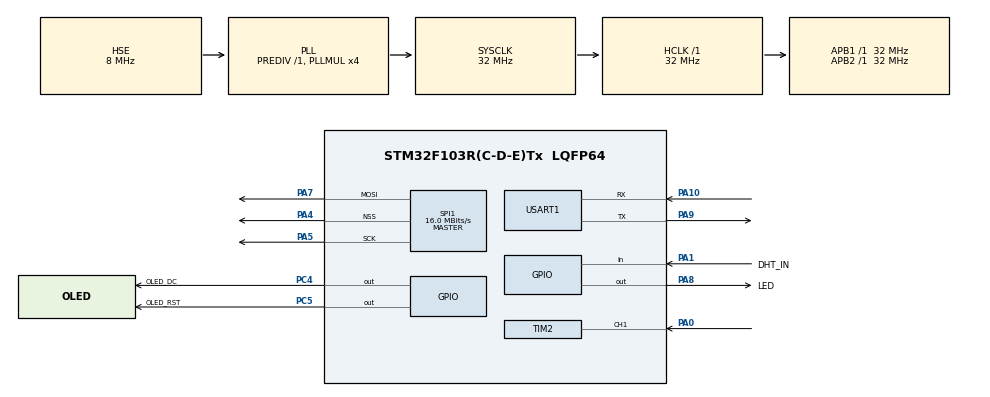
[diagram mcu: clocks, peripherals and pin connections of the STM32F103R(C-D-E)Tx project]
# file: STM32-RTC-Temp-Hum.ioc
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Mcu.Family=STM32F1
Mcu.Name=STM32F103R(C-D-E)Tx
Mcu.Package=LQFP64
NVIC.PriorityGroup=NVIC_PRIORITYGROUP_4
NVIC.TIM1_UP_IRQn=true\:0\:0\:false\:false\:true\:true\:true
NVIC.TIM2_IRQn=true\:0\:0\:false\:false\:true\:true\:true
PA0-WKUP.Signal=S_TIM2_CH1_ETR
PA1.GPIO_Label=DHT_IN
PA1.Signal=GPIO_Input
PA10.Mode=Asynchronous
PA10.Signal=USART1_RX
PA13.Mode=Serial_Wire
PA13.Signal=SYS_JTMS-SWDIO
PA14.Mode=Serial_Wire
PA14.Signal=SYS_JTCK-SWCLK
PA4.Mode=NSS_Signal_Hard_Output
PA4.Signal=SPI1_NSS
PA5.Mode=TX_Only_Simplex_Unidirect_Master
PA5.Signal=SPI1_SCK
PA7.Mode=TX_Only_Simplex_Unidirect_Master
PA7.Signal=SPI1_MOSI
PA8.GPIO_Label=LED
PA8.PinState=GPIO_PIN_SET
PA8.Signal=GPIO_Output
PA9.Mode=Asynchronous
PA9.Signal=USART1_TX
PC14-OSC32_IN.Mode=LSE-External-Oscillator
PC14-OSC32_IN.Signal=RCC_OSC32_IN
PC15-OSC32_OUT.Mode=LSE-External-Oscillator
PC15-OSC32_OUT.Signal=RCC_OSC32_OUT
PC4.GPIO_Label=OLED_DC
PC4.Signal=GPIO_Output
PC5.GPIO_Label=OLED_RST
PC5.Signal=GPIO_Output
PD0-OSC_IN.Mode=HSE-External-Oscillator
PD0-OSC_IN.Signal=RCC_OSC_IN
PD1-OSC_OUT.Mode=HSE-External-Oscillator
PD1-OSC_OUT.Signal=RCC_OSC_OUT
ProjectManager.HeapSize=0x200
ProjectManager.StackSize=0x400
ProjectManager.TargetToolchain=MDK-ARM V5.27
RCC.AHBFreq_Value=32000000
RCC.APB1Freq_Value=32000000
RCC.APB1TimFreq_Value=32000000
RCC.APB2Freq_Value=32000000
RCC.APB2TimFreq_Value=32000000
RCC.HCLKFreq_Value=32000000
RCC.PLLMUL=RCC_PLL_MUL4
RCC.PLLSourceVirtual=RCC_PLLSOURCE_HSE
RCC.SYSCLKFreq_VALUE=32000000
RCC.SYSCLKSource=RCC_SYSCLKSOURCE_PLLCLK
RCC.USBFreq_Value=32000000
RTC.Date=29
RTC.Format=RTC_FORMAT_BIN
RTC.Hours=18
RTC.Minutes=58
RTC.Month=RTC_MONTH_APRIL
RTC.Seconds=56
RTC.WeekDay=RTC_WEEKDAY_WEDNESDAY
RTC.Year=20
SH.S_TIM2_CH1_ETR.0=TIM2_CH1,Input_Capture1_from_TI1
SPI1.CalculateBaudRate=16.0 MBits/s
SPI1.Direction=SPI_DIRECTION_2LINES
SPI1.Mode=SPI_MODE_MASTER
SPI1.VirtualNSS=VM_NSSHARD
SPI1.VirtualType=VM_MASTER
TIM1.Period=999
TIM1.Prescaler=31
TIM2.Channel-Input_Capture1_from_TI1=TIM_CHANNEL_1
TIM2.ICFilter_CH1=3
TIM2.Period=9999
TIM2.Prescaler=31
USART1.VirtualMode=VM_ASYNC
VP_RTC_No_RTC_Output.Mode=RTC_OUT_NO
VP_RTC_VS_RTC_Activate.Mode=RTC_Enabled
VP_RTC_VS_RTC_Calendar.Mode=RTC_Calendar
VP_TIM1_VS_ClockSourceINT.Mode=Internal
VP_TIM2_VS_ClockSourceINT.Mode=Internal
board=custom

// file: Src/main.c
/* USER CODE BEGIN Header */
/**
  ******************************************************************************
  * @file           : main.c
  * @brief          : Main program body
  ******************************************************************************
  * @attention
  *
  * <h2><center>&copy; Copyright (c) 2020 STMicroelectronics.
  * All rights reserved.</center></h2>
  *
  * This software component is licensed by ST under BSD 3-Clause license,
  * the "License"; You may not use this file except in compliance with the
  * License. You may obtain a copy of the License at:
  *                        opensource.org/licenses/BSD-3-Clause
  *
  ******************************************************************************
  */
/* USER CODE END Header */

#include "main.h"
#include "rtc.h"
#include "spi.h"
#include "tim.h"
#include "usart.h"
#include "gpio.h"

/* USER CODE BEGIN Includes */
#include "stdio.h"
#include "dht11.h"
#include "oled.h"
#include "infrared.h"
/* USER CODE END Includes */

/* USER CODE BEGIN PTD */
typedef struct
{
	char date_str[11];
	char time_str[9];
	char week_str[4];
	char hum_str[6];
	char tmp_str[6];
}DISPLAY_DATA;

/**********定义轮询任务结构�?**********/
typedef struct
{
     uint8_t Valid;									// 任务是否挂起标志位：1=挂起
		 uint8_t Run;                  // 程序运行标记�?0-不运行，1运行
    uint16_t Timer;                // 计时�?
    uint16_t ItvTime;              // 任务运行间隔时间
    void (*TaskHook)(DISPLAY_DATA* data); // 要运行的任务函数
}TASK_COMPONENTS;
/* USER CODE END PTD */

/* USER CODE BEGIN PD */
#define TASK_NUM 		4			// 定义任务数量
/* USER CODE END PD */

/* USER CODE BEGIN PV */
RTC_DateTypeDef sDate ; // 日期
RTC_TimeTypeDef sTime ; // 时间
RTC_DateTypeDef setDate ; // 待设置的日期
RTC_TimeTypeDef setTime ; // 待设置时间
DHT11_Data_TypeDef dth11_data = {0};

// 显示结构体，初始化
DISPLAY_DATA display_data = {
	"2020-01-01",
	"12:00:00",
	"***",
	"00.00",
	"00.00"
};

char *week[7] = {"SUN","MON","TUE","WEN","THU","FRI","SAT"} ;

uint8_t ir_code=0; // 红外解码的值
uint8_t inverse_colum_idx = 0xFF; // 反显的索引
uint8_t inverse_page_idx = 0xFF; // 反显的索引

extern uint8_t OK;										// 红外引导码有效标志位：1=有效
//extern uint8_t ReadyFlag;						// 红外接收完成标志位：1=完成
extern uint16_t TimeOut; 						// 超时时间计数
extern uint16_t KeyCount;						// 按键连按次数

/* USER CODE END PV */

void SystemClock_Config(void);
/* USER CODE BEGIN PFP */
void Task_Process(void); // 任务处理
void Task_Remark(void);  // 任务标记
void Task_Get_Date(DISPLAY_DATA* data);  // 更新时间任务
void Task_Get_Time(DISPLAY_DATA* data);  // 更新时间任务
void Task_Get_Hum(DISPLAY_DATA* data);   // 更新温湿度任务
void Task_Display(DISPLAY_DATA* data);   // 显示任务

// 定义任务数组
static TASK_COMPONENTS TaskComps[] = {
	{1,1,500,500,Task_Get_Time}, // 时间更新任务：刚进入就运行一次，等待1s执行�?次，后面就每�?1s执行�?�?
	{1,1,500,10000,Task_Get_Date}, // 日期更新任务：刚进入就运行一次，等待1s执行丿次，后面就每隿1s执行丿欿
	{1,1,1000,1000,Task_Display}, // 显示任务
	{1,0,1000,3000,Task_Get_Hum}  // 温湿度显示任务
};

/* USER CODE END PFP */

/* USER CODE BEGIN 0 */
// 任务处理函数
void Task_Process(void)
{
	uint8_t i;
	for(i=0;i<TASK_NUM;i++)
	{
		if(TaskComps[i].Valid) // 如果任务没有被挂起
		{
			if(TaskComps[i].Run) // 如果有任务标记可运行
			{
				TaskComps[i].TaskHook(&display_data);  // 运行任务
				TaskComps[i].Run = 0 ; 		// 任务运行标记复位
			}
		}
	}
}

// 任务轮询函数，放在定时器中断中执�?
// 原理：每�?1ms进入�?次中断，然后将任务的计时器Timer减一，直到减为零�?
// 然后将Timer重新赋�?�为定时间隔ItvTime，同时将任务运行标志置为1，表示该任务可以运行�?
// 在main函数中，Task_Process会不断的判断是否有可执行的任务，然后去执�?
void Task_Remark(void)
{
	uint8_t i ;
  for(i = 0 ; i < TASK_NUM ; i++)
  {
    if(TaskComps[i].Valid)   // 如果任务没有被挂起
		{
				if(TaskComps[i].Timer)
				{
					TaskComps[i].Timer -- ;           // 不为零就每次递减1
					if(TaskComps[i].Timer == 0)       // 减到零就重置计数
					{
						TaskComps[i].Timer = TaskComps[i].ItvTime ; // 重置计数时长
						TaskComps[i].Run = 0x01 ;    // 任务可以运行标志
					}
				}
		}
  }
}

// 更新日期任务
void Task_Get_Date(DISPLAY_DATA* data)
{
	HAL_RTC_GetDate(&hrtc,&sDate,RTC_FORMAT_BIN);

	data->date_str[0]='2';
	data->date_str[1]='0';
	data->date_str[2]=sDate.Year/10+'0';
	data->date_str[3]=sDate.Year%10+'0';
	data->date_str[4]='-';
	data->date_str[5]=sDate.Month/10+'0';
	data->date_str[6]=sDate.Month%10+'0';
	data->date_str[7]='-';
	data->date_str[8]=sDate.Date/10+'0';
	data->date_str[9]=sDate.Date%10+'0';

	char* d = week[sDate.WeekDay%7];
	data->week_str[0]=d[0];
	data->week_str[1]=d[1];
	data->week_str[2]=d[2];
}

// 更新时间任务
void Task_Get_Time(DISPLAY_DATA* data)
{
	HAL_RTC_GetTime(&hrtc,&sTime,RTC_FORMAT_BIN);

	data->time_str[0]=sTime.Hours/10+'0';
	data->time_str[1]=sTime.Hours%10+'0';
	data->time_str[2]=':';
	data->time_str[3]=sTime.Minutes/10+'0';
	data->time_str[4]=sTime.Minutes%10+'0';
	data->time_str[5]=':';
	data->time_str[6]=sTime.Seconds/10+'0';
	data->time_str[7]=sTime.Seconds%10+'0';
}

// 更新温湿度任务
void Task_Get_Hum(DISPLAY_DATA* data)
{
	uint8_t res = dht11_read_data(&dth11_data);
	if(res == SUCCESS)
	{
		data->tmp_str[0] = dth11_data.temp_high8bit/10+'0';
		data->tmp_str[1] = dth11_data.temp_high8bit%10+'0';
		data->tmp_str[2] = '.';
		data->tmp_str[3] = dth11_data.temp_low8bit/10+'0';
		data->tmp_str[4] = dth11_data.temp_low8bit%10+'0';

		data->hum_str[0] = dth11_data.humi_high8bit/10+'0' ;
		data->hum_str[1] = dth11_data.humi_high8bit%10+'0' ;
		data->hum_str[2] ='.';
		data->hum_str[3] = dth11_data.humi_low8bit/10+'0' ;
		data->hum_str[4] = dth11_data.humi_low8bit%10+'0' ;
	}
}

// 显示任务
void Task_Display(DISPLAY_DATA* data)
{
	OLED_Show_String(0,0,data->date_str,BIG);
	OLED_Show_String(103,0,data->week_str,BIG);
	OLED_Show_String(0,2,data->time_str,BIG);
	OLED_Show_String(0,4,"TEM:",BIG) ;
	OLED_Show_String(32,4,data->tmp_str,BIG);
	OLED_Show_String(0,6,"HUM:",BIG) ;
	OLED_Show_String(32,6,data->hum_str,BIG);
}

/* USER CODE END 0 */

int main(void)
{

  /* MCU Configuration--------------------------------------------------------*/

  /* Reset of all peripherals, Initializes the Flash interface and the Systick. */
  HAL_Init();

  /* Configure the system clock */
  SystemClock_Config();

  /* Initialize all configured peripherals */
  MX_GPIO_Init();
  MX_RTC_Init();
  MX_SPI1_Init();
  MX_TIM2_Init();
  MX_USART1_UART_Init();
  MX_TIM1_Init();
  /* USER CODE BEGIN 2 */
	OLED_Init();
	OLED_Clear();
	Infrared_Init();
	HAL_TIM_Base_Start_IT(&htim1);
  /* USER CODE END 2 */

  /* Infinite loop */
  while (1)
  {

    /* USER CODE BEGIN 3 */
		Task_Process();
  }
  /* USER CODE END 3 */
}

void SystemClock_Config(void)
{
  RCC_OscInitTypeDef RCC_OscInitStruct = {0};
  RCC_ClkInitTypeDef RCC_ClkInitStruct = {0};
  RCC_PeriphCLKInitTypeDef PeriphClkInit = {0};

  /** Initializes the CPU, AHB and APB busses clocks
  */
  RCC_OscInitStruct.OscillatorType = RCC_OSCILLATORTYPE_LSI|RCC_OSCILLATORTYPE_HSE;
  RCC_OscInitStruct.HSEState = RCC_HSE_ON;
  RCC_OscInitStruct.HSEPredivValue = RCC_HSE_PREDIV_DIV1;
  RCC_OscInitStruct.HSIState = RCC_HSI_ON;
  RCC_OscInitStruct.LSIState = RCC_LSI_ON;
  RCC_OscInitStruct.PLL.PLLState = RCC_PLL_ON;
  RCC_OscInitStruct.PLL.PLLSource = RCC_PLLSOURCE_HSE;
  RCC_OscInitStruct.PLL.PLLMUL = RCC_PLL_MUL4;
  if (HAL_RCC_OscConfig(&RCC_OscInitStruct) != HAL_OK)
  {
    Error_Handler();
  }
  /** Initializes the CPU, AHB and APB busses clocks
  */
  RCC_ClkInitStruct.ClockType = RCC_CLOCKTYPE_HCLK|RCC_CLOCKTYPE_SYSCLK
                              |RCC_CLOCKTYPE_PCLK1|RCC_CLOCKTYPE_PCLK2;
  RCC_ClkInitStruct.SYSCLKSource = RCC_SYSCLKSOURCE_PLLCLK;
  RCC_ClkInitStruct.AHBCLKDivider = RCC_SYSCLK_DIV1;
  RCC_ClkInitStruct.APB1CLKDivider = RCC_HCLK_DIV1;
  RCC_ClkInitStruct.APB2CLKDivider = RCC_HCLK_DIV1;

  if (HAL_RCC_ClockConfig(&RCC_ClkInitStruct, FLASH_LATENCY_1) != HAL_OK)
  {
    Error_Handler();
  }
  PeriphClkInit.PeriphClockSelection = RCC_PERIPHCLK_RTC;
  PeriphClkInit.RTCClockSelection = RCC_RTCCLKSOURCE_LSI;
  if (HAL_RCCEx_PeriphCLKConfig(&PeriphClkInit) != HAL_OK)
  {
    Error_Handler();
  }
}

/* USER CODE BEGIN 4 */
int fputc(int ch , FILE *f)
{
    HAL_UART_Transmit(&huart1, (uint8_t *)&ch , 1 , 10);
    return ch;
}

/******************************************
** 定时器TIM1更新回调函数每1ms回调一次，
** 这个1ms作为任务轮询的间隔时间
********************************************/
void HAL_TIM_PeriodElapsedCallback(TIM_HandleTypeDef *htim)
{
	if(htim->Instance == TIM1) // 定时器TIM1更新中断
	{
		Task_Remark(); // 执行任务标记，定时器TIM1来做任务轮询的时钟
	}
	else if(htim->Instance == TIM2)  // 定时器TIM2更新中断
	{
		if(OK)
		{
			TimeOut = (TimeOut>20?0:TimeOut++);
			if(TimeOut==0)
			{
				ir_code = IRCode_Process();
//				printf("code = %02X \r\n",ir_code);
				uint8_t code_num = 0xFF ;
				switch(ir_code)
				{
					case 0x68:
						inverse_colum_idx = 0;
						inverse_page_idx = 0;
						break;
					case 0xB0:
						inverse_colum_idx = 0xFF;
						inverse_page_idx = 0xFF;
						TaskComps[2].Valid = 1;
						break;
					case 0x5A:
						inverse_colum_idx = (inverse_colum_idx > 120 ? 0 :inverse_colum_idx + 8);
						break;
					case 0x10:
						inverse_colum_idx = (inverse_colum_idx == 0 ? 120 :inverse_colum_idx - 8);
						break;
					case 0x4A:
						inverse_page_idx = (inverse_page_idx > 7? 0:inverse_page_idx + 2 );
						break;
					case 0x18:
						inverse_page_idx = (inverse_page_idx == 0 ? 6:inverse_page_idx - 2 );
						break;
//				1(0xA2)  2(0x62)  3(0xE2)
//				4(0x22)  5(0x02)  6(0xC2)
//				7(0xE0)  8(0xA8)  9(0x90)
//				*(0x68)  0(0x98)  #(0xB0)
					case 0x98:
						code_num = 0;
						break;
					case 0xA2:
						code_num = 1;
						break;
					case 0x62:
						code_num = 2;
						break;
					case 0xE2:
						code_num = 3;
						break;
					case 0x22:
						code_num = 4;
						break;
					case 0x02:
						code_num = 5;
						break;
					case 0xC2:
						code_num = 6;
						break;
					case 0xE0:
						code_num = 7;
						break;
					case 0xA8:
						code_num = 8;
						break;
					case 0x90:
						code_num = 9;
						break;
				}
				OLED_Set_Inverse(inverse_colum_idx,inverse_page_idx,0);
				if(code_num < 10 && inverse_page_idx == 0)
				{
					TaskComps[2].Valid = 0;
					OLED_Show_Char(inverse_colum_idx,inverse_page_idx,code_num+'0',BIG);
				}	else if(code_num < 10 && inverse_page_idx == 2)
				{
					TaskComps[2].Valid = 0;
					OLED_Show_Char(inverse_colum_idx,inverse_page_idx,code_num+'0',BIG);
				}
			}
		}
	}
}
/* USER CODE END 4 */

void Error_Handler(void)
{
}

/************************ (C) COPYRIGHT STMicroelectronics *****END OF FILE****/
